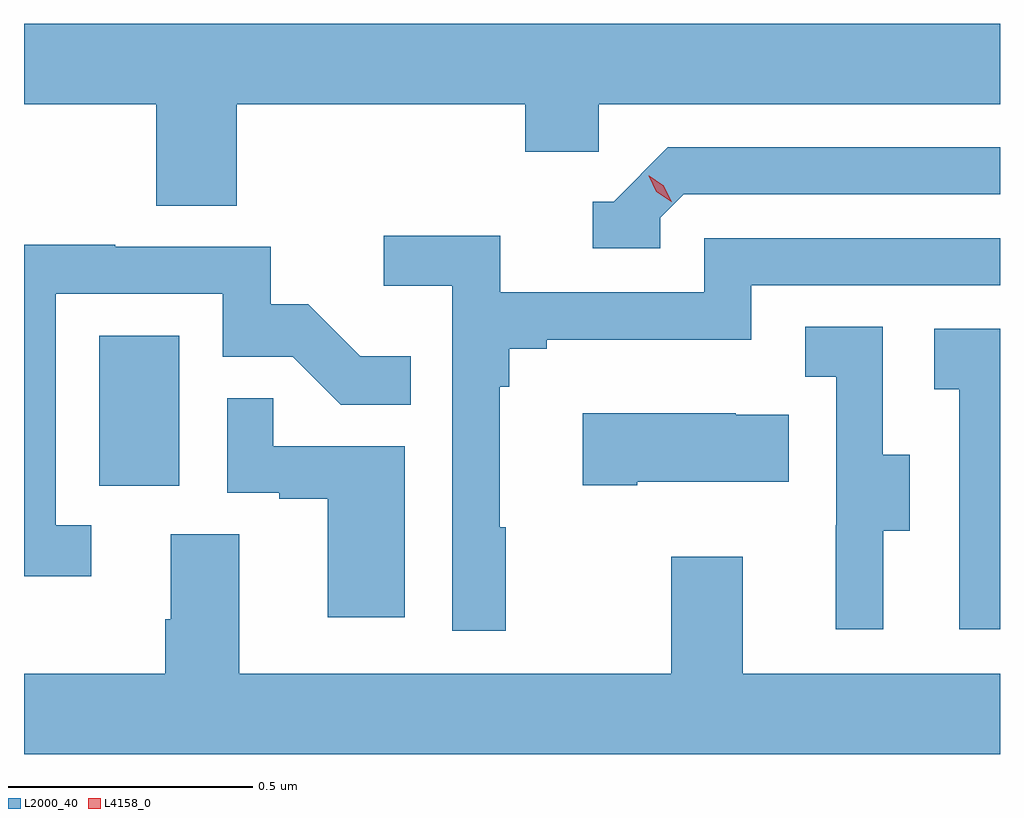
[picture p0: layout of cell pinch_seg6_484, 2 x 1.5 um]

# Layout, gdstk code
import gdstk
lib = gdstk.Library(unit=1e-6, precision=1e-09)
def R(c, l, rs):  # rectangles x0, y0, x1, y1
    for r in rs: c.add(gdstk.rectangle(r[:2], r[2:], *l))
def P(c, l, *ps):  # polygons
    for p in ps: c.add(gdstk.Polygon(p, *l))
L2000_40 = (2000, 40)
L4158_0 = (4158, 0)

pinch_seg6_484 = lib.new_cell('pinch_seg6_484')
R(pinch_seg6_484, L2000_40, [(879.272,921.246,879.436,921.553)])
P(pinch_seg6_484, L2000_40, [(879.554,922.028),(880.145,922.028),(880.145,921.93),(880.296,921.93),(880.296,922.028),(881.118,922.028),(881.118,922.192),(879.118,922.192),(879.118,922.028),(879.389,922.028),(879.389,921.82),(879.554,921.82)],
  [(880.422,921.795),(880.47,921.843),(881.118,921.843),(881.118,921.939),(880.437,921.939),(880.326,921.828),(880.283,921.828),(880.283,921.732),(880.422,921.732)],
  [(880.105,921.161),(880.093,921.161),(880.093,921.449),(880.112,921.449),(880.112,921.526),(880.189,921.526),(880.189,921.545),(880.608,921.545),(880.608,921.657),(881.118,921.657),(881.118,921.753),(880.512,921.753),(880.512,921.642),(880.094,921.642),(880.094,921.758),(879.855,921.758),(879.855,921.656),(879.996,921.656),(879.996,920.949),(880.105,920.949)],
  [(879.256,921.165),(879.183,921.165),(879.183,921.639),(879.525,921.639),(879.525,921.51),(879.669,921.51),(879.767,921.412),(879.911,921.412),(879.911,921.511),(879.807,921.511),(879.7,921.618),(879.624,921.618),(879.624,921.735),(879.305,921.735),(879.305,921.74),(879.118,921.74),(879.118,921.06),(879.256,921.06)],
  [(880.879,921.154),(880.933,921.154),(880.933,921.309),(880.878,921.309),(880.878,921.572),(880.719,921.572),(880.719,921.469),(880.782,921.469),(880.782,921.165),(880.781,921.165),(880.781,920.952),(880.879,920.952)],
  [(881.118,921.567),(880.983,921.567),(880.983,921.443),(881.034,921.443),(881.034,920.952),(881.118,920.952)],
  [(879.898,921.327),(879.629,921.327),(879.629,921.425),(879.534,921.425),(879.534,921.231),(879.641,921.231),(879.641,921.219),(879.74,921.219),(879.74,920.976),(879.898,920.976)],
  [(880.375,921.254),(880.685,921.254),(880.685,921.391),(880.577,921.391),(880.577,921.394),(880.263,921.394),(880.263,921.247),(880.375,921.247)],
  [(881.118,920.86),(880.591,920.86),(880.591,921.1),(880.444,921.1),(880.444,920.86),(879.559,920.86),(879.559,921.146),(879.419,921.146),(879.419,920.972),(879.407,920.972),(879.407,920.86),(879.118,920.86),(879.118,920.696),(881.118,920.696)])
P(pinch_seg6_484, L4158_0, [(880.444,921.828),(880.414,921.848),(880.398,921.881),(880.398,921.881),(880.399,921.881),(880.429,921.861),(880.445,921.828),(880.445,921.828)])

lib.write_gds('pinch_seg6_484.gds')
